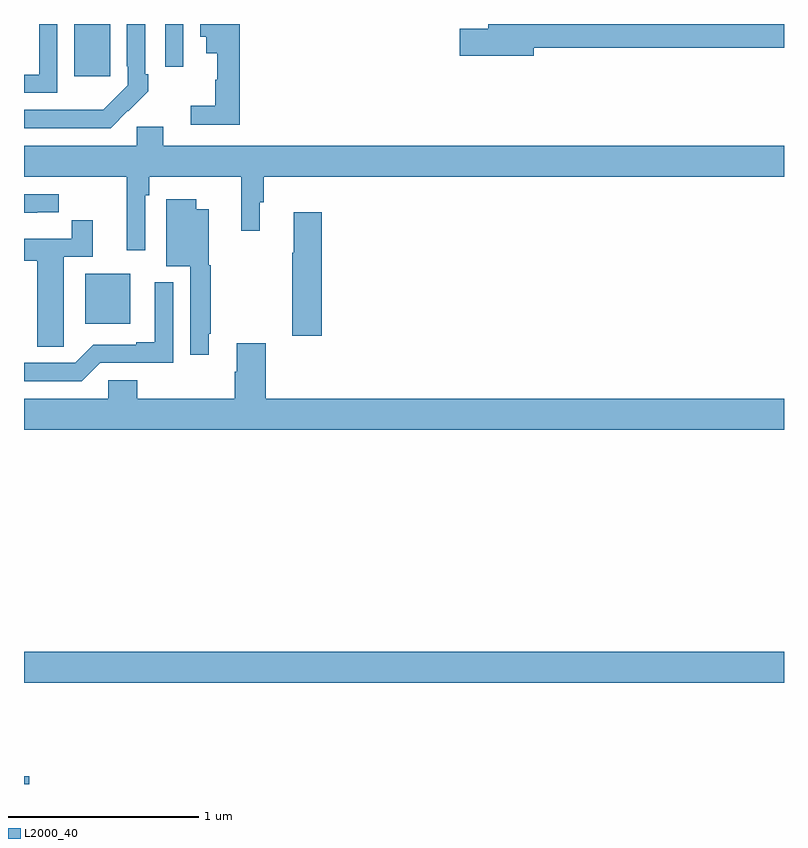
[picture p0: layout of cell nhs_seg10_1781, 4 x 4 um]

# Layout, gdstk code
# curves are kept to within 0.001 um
import gdstk
lib = gdstk.Library(unit=1e-6, precision=1e-09)
def R(c, l, rs):  # rectangles x0, y0, x1, y1
    for r in rs: c.add(gdstk.rectangle(r[:2], r[2:], *l))
def P(c, l, *ps):  # polygons
    for p in ps: c.add(gdstk.Polygon(p, *l))
L2000_40 = (2000, 40)

nhs_seg10_1781 = lib.new_cell('nhs_seg10_1781')
R(nhs_seg10_1781, L2000_40, [(205,1250.5,205.027,1250.54), (205,1251.032,209,1251.196), (205.322,1252.922,205.558,1253.185), (205.265,1254.225,205.453,1254.499), (205.743,1254.276,205.839,1254.5)])
P(nhs_seg10_1781, L2000_40, [(205.176,1254.5),(205.08,1254.5),(205.08,1254.234),(205,1254.234),(205,1254.138),(205.176,1254.138)],
  [(207.682,1254.376),(209,1254.376),(209,1254.5),(207.443,1254.5),(207.443,1254.476),(207.294,1254.476),(207.294,1254.334),(207.682,1254.334)],
  [(206.135,1254.5),(205.928,1254.5),(205.928,1254.434),(205.958,1254.434),(205.958,1254.347),(206.018,1254.347),(206.018,1254.207),(206.007,1254.207),(206.007,1254.071),(205.878,1254.071),(205.878,1253.97),(206.135,1253.97)],
  [(205.547,1254.043),(205.548,1254.042),(205.653,1254.147),(205.653,1254.235),(205.638,1254.235),(205.638,1254.5),(205.542,1254.5),(205.542,1254.277),(205.545,1254.277),(205.545,1254.177),(205.417,1254.049),(205,1254.048),(205,1253.952),(205.456,1253.952)],
  [(205.638,1253.6),(205.658,1253.6),(205.658,1253.696),(206.143,1253.696),(206.143,1253.412),(206.242,1253.412),(206.242,1253.562),(206.261,1253.562),(206.261,1253.696),(209,1253.696),(209,1253.86),(205.732,1253.86),(205.732,1253.958),(205.593,1253.958),(205.593,1253.86),(205,1253.86),(205,1253.696),(205.541,1253.696),(205.541,1253.31),(205.638,1253.31)],
  [(205.07,1253.508),(205.183,1253.508),(205.183,1253.604),(205,1253.604),(205,1253.507),(205.07,1253.507)],
  [(205.972,1252.87),(205.984,1252.87),(205.984,1253.229),(205.972,1253.229),(205.972,1253.524),(205.906,1253.524),(205.906,1253.578),(205.748,1253.578),(205.748,1253.225),(205.875,1253.225),(205.875,1252.758),(205.972,1252.758)],
  [(206.567,1253.509),(206.42,1253.509),(206.42,1253.296),(206.413,1253.296),(206.413,1252.86),(206.567,1252.86)],
  [(205.209,1252.912),(205.21,1252.912),(205.21,1253.274),(205.361,1253.274),(205.361,1253.467),(205.252,1253.467),(205.252,1253.37),(205,1253.37),(205,1253.254),(205.07,1253.254),(205.07,1252.801),(205.209,1252.801)],
  [(205.401,1252.716),(205.785,1252.716),(205.785,1253.14),(205.688,1253.14),(205.688,1252.825),(205.592,1252.825),(205.592,1252.812),(205.365,1252.812),(205.269,1252.716),(205,1252.716),(205,1252.62),(205.305,1252.62)],
  [(209,1252.528),(206.273,1252.528),(206.273,1252.819),(206.12,1252.819),(206.12,1252.67),(206.108,1252.67),(206.108,1252.528),(205.595,1252.528),(205.595,1252.626),(205.443,1252.626),(205.443,1252.528),(205,1252.528),(205,1252.364),(209,1252.364)])

lib.write_gds('nhs_seg10_1781.gds')
